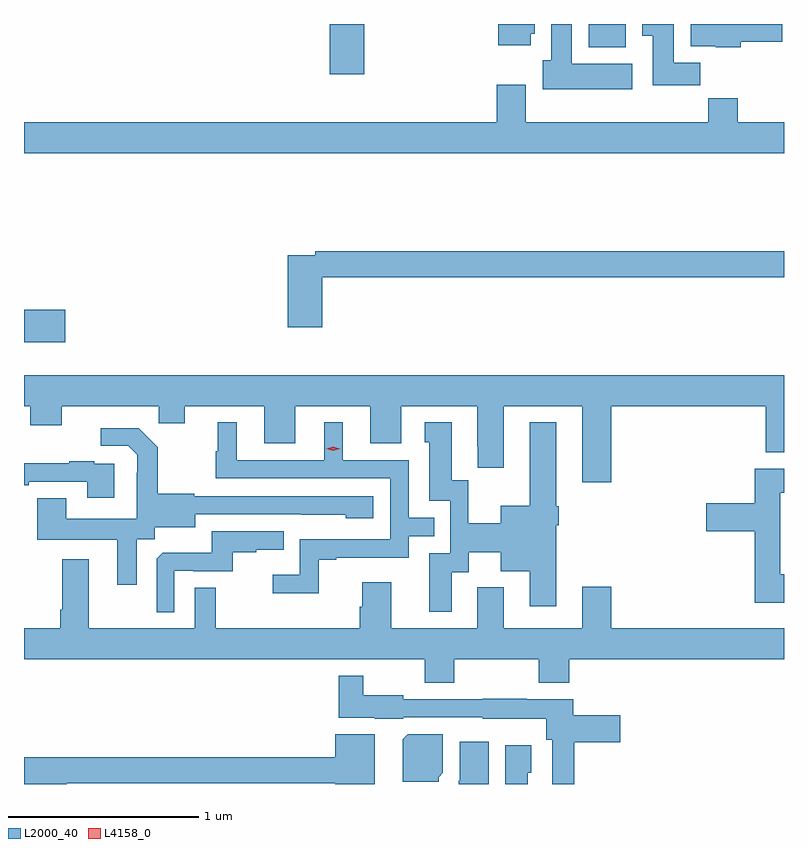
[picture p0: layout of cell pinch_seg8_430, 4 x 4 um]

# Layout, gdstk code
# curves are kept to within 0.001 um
import gdstk
lib = gdstk.Library(unit=1e-6, precision=1e-09)
def R(c, l, rs):  # rectangles x0, y0, x1, y1
    for r in rs: c.add(gdstk.rectangle(r[:2], r[2:], *l))
def P(c, l, *ps):  # polygons
    for p in ps: c.add(gdstk.Polygon(p, *l))
L2000_40 = (2000, 40)
L4158_0 = (4158, 0)

pinch_seg8_430 = lib.new_cell('pinch_seg8_430')
R(pinch_seg8_430, L2000_40, [(263.845,1127.492,264.061,1127.663), (265.454,1128.903,265.637,1129.168), (266.817,1129.046,267.013,1129.168)])
P(pinch_seg8_430, L2000_40, [(267.046,1128.958),(266.728,1128.958),(266.728,1129.168),(266.621,1129.168),(266.621,1128.978),(266.576,1128.978),(266.576,1128.824),(267.046,1128.824)],
  [(267.404,1128.964),(267.265,1128.964),(267.265,1129.168),(267.098,1129.168),(267.098,1129.105),(267.155,1129.105),(267.155,1128.846),(267.404,1128.846)],
  [(267.617,1129.075),(267.835,1129.075),(267.835,1129.168),(267.353,1129.168),(267.353,1129.052),(267.486,1129.052),(267.486,1129.046),(267.617,1129.046)],
  [(266.512,1129.116),(266.533,1129.116),(266.533,1129.168),(266.342,1129.168),(266.342,1129.056),(266.512,1129.056)],
  [(267.845,1128.652),(267.602,1128.652),(267.602,1128.776),(267.445,1128.776),(267.445,1128.652),(266.485,1128.652),(266.485,1128.847),(266.333,1128.847),(266.333,1128.652),(263.845,1128.652),(263.845,1128.488),(267.845,1128.488)],
  [(265.415,1127.836),(267.845,1127.836),(267.845,1127.972),(265.378,1127.972),(265.378,1127.952),(265.232,1127.952),(265.232,1127.571),(265.415,1127.571)],
  [(266.936,1127.156),(267.749,1127.156),(267.749,1126.913),(267.845,1126.913),(267.845,1127.32),(263.845,1127.32),(263.845,1127.156),(263.879,1127.156),(263.879,1127.057),(264.043,1127.057),(264.043,1127.156),(264.553,1127.156),(264.553,1127.066),(264.691,1127.066),(264.691,1127.156),(265.109,1127.156),(265.109,1126.962),(265.273,1126.962),(265.273,1127.156),(265.667,1127.156),(265.667,1126.962),(265.831,1126.962),(265.831,1127.156),(266.231,1127.156),(266.231,1126.945),(266.232,1126.945),(266.232,1126.833),(266.371,1126.833),(266.371,1127.156),(266.783,1127.156),(266.783,1126.755),(266.936,1126.755)],
  [(266.095,1126.282),(266.185,1126.282),(266.185,1126.388),(266.354,1126.388),(266.354,1126.289),(266.507,1126.289),(266.507,1126.104),(266.647,1126.104),(266.647,1126.529),(266.66,1126.529),(266.66,1126.629),(266.647,1126.629),(266.647,1127.071),(266.507,1127.071),(266.507,1126.633),(266.354,1126.633),(266.354,1126.54),(266.184,1126.54),(266.184,1126.767),(266.095,1126.767),(266.095,1127.071),(265.955,1127.071),(265.955,1126.968),(265.979,1126.968),(265.979,1126.659),(266.088,1126.659),(266.088,1126.383),(265.979,1126.383),(265.979,1126.074),(266.095,1126.074)],
  [(265.395,1126.347),(265.489,1126.347),(265.489,1126.359),(265.869,1126.359),(265.869,1126.473),(266.003,1126.473),(266.003,1126.569),(265.869,1126.569),(265.869,1126.872),(265.522,1126.872),(265.522,1127.071),(265.424,1127.071),(265.424,1126.872),(264.964,1126.872),(264.964,1127.071),(264.866,1127.071),(264.866,1126.92),(264.855,1126.92),(264.855,1126.776),(265.773,1126.776),(265.773,1126.455),(265.296,1126.455),(265.296,1126.27),(265.155,1126.27),(265.155,1126.172),(265.395,1126.172)],
  [(264.439,1126.456),(264.534,1126.456),(264.534,1126.52),(264.745,1126.52),(264.745,1126.587),(265.539,1126.586),(265.539,1126.568),(265.684,1126.568),(265.684,1126.683),(264.741,1126.683),(264.741,1126.696),(264.549,1126.696),(264.549,1126.941),(264.449,1127.041),(264.249,1127.041),(264.249,1126.947),(264.393,1126.947),(264.44,1126.9),(264.44,1126.805),(264.438,1126.805),(264.438,1126.564),(264.067,1126.564),(264.067,1126.673),(263.915,1126.673),(263.915,1126.454),(264.335,1126.454),(264.335,1126.218),(264.439,1126.218)],
  [(264.319,1126.854),(264.215,1126.854),(264.215,1126.867),(264.083,1126.867),(264.083,1126.856),(263.845,1126.856),(263.845,1126.74),(263.869,1126.74),(263.869,1126.758),(264.179,1126.758),(264.179,1126.674),(264.319,1126.674)],
  [(267.845,1126.273),(267.826,1126.273),(267.826,1126.7),(267.845,1126.7),(267.845,1126.828),(267.692,1126.828),(267.692,1126.646),(267.435,1126.646),(267.435,1126.499),(267.692,1126.499),(267.692,1126.121),(267.845,1126.121)],
  [(264.636,1126.29),(264.736,1126.29),(264.736,1126.287),(264.944,1126.287),(264.944,1126.389),(265.067,1126.389),(265.067,1126.4),(265.211,1126.4),(265.211,1126.497),(264.834,1126.497),(264.834,1126.385),(264.575,1126.385),(264.543,1126.353),(264.543,1126.073),(264.636,1126.073)],
  [(265.777,1126.231),(265.625,1126.231),(265.625,1126.101),(265.613,1126.101),(265.613,1125.988),(264.853,1125.988),(264.853,1126.202),(264.744,1126.202),(264.744,1125.988),(264.187,1125.988),(264.187,1126.351),(264.047,1126.351),(264.047,1126.084),(264.035,1126.084),(264.035,1125.988),(263.845,1125.988),(263.845,1125.824),(265.954,1125.824),(265.954,1125.7),(266.109,1125.7),(266.109,1125.824),(266.554,1125.824),(266.554,1125.7),(266.714,1125.7),(266.714,1125.824),(267.845,1125.824),(267.845,1125.988),(266.936,1125.988),(266.936,1126.207),(266.783,1126.207),(266.783,1125.988),(266.371,1125.988),(266.371,1126.204),(266.231,1126.204),(266.231,1125.988),(265.777,1125.988)],
  [(266.741,1125.389),(266.983,1125.389),(266.983,1125.531),(266.735,1125.531),(266.735,1125.615),(266.491,1125.615),(266.491,1125.617),(266.259,1125.617),(266.259,1125.615),(265.842,1125.615),(265.842,1125.634),(265.63,1125.634),(265.63,1125.739),(265.501,1125.739),(265.501,1125.518),(265.692,1125.518),(265.692,1125.512),(265.842,1125.512),(265.842,1125.519),(266.259,1125.519),(266.259,1125.512),(266.594,1125.512),(266.594,1125.401),(266.625,1125.401),(266.625,1125.168),(266.741,1125.168)],
  [(264.07,1125.172),(265.484,1125.172),(265.484,1125.168),(265.69,1125.168),(265.69,1125.43),(265.484,1125.43),(265.484,1125.308),(263.845,1125.308),(263.845,1125.168),(264.07,1125.168)],
  [(266.028,1125.204),(266.05,1125.226),(266.05,1125.43),(265.864,1125.43),(265.838,1125.404),(265.838,1125.179),(266.028,1125.179)],
  [(266.29,1125.391),(266.138,1125.391),(266.138,1125.186),(266.134,1125.186),(266.134,1125.168),(266.29,1125.168)],
  [(266.497,1125.228),(266.515,1125.228),(266.515,1125.373),(266.378,1125.373),(266.378,1125.168),(266.497,1125.168)])
P(pinch_seg8_430, L4158_0, [(265.473,1126.922),(265.437,1126.932),(265.437,1126.932),(265.437,1126.933),(265.473,1126.942),(265.508,1126.933),(265.509,1126.932),(265.508,1126.932)])

lib.write_gds('pinch_seg8_430.gds')
